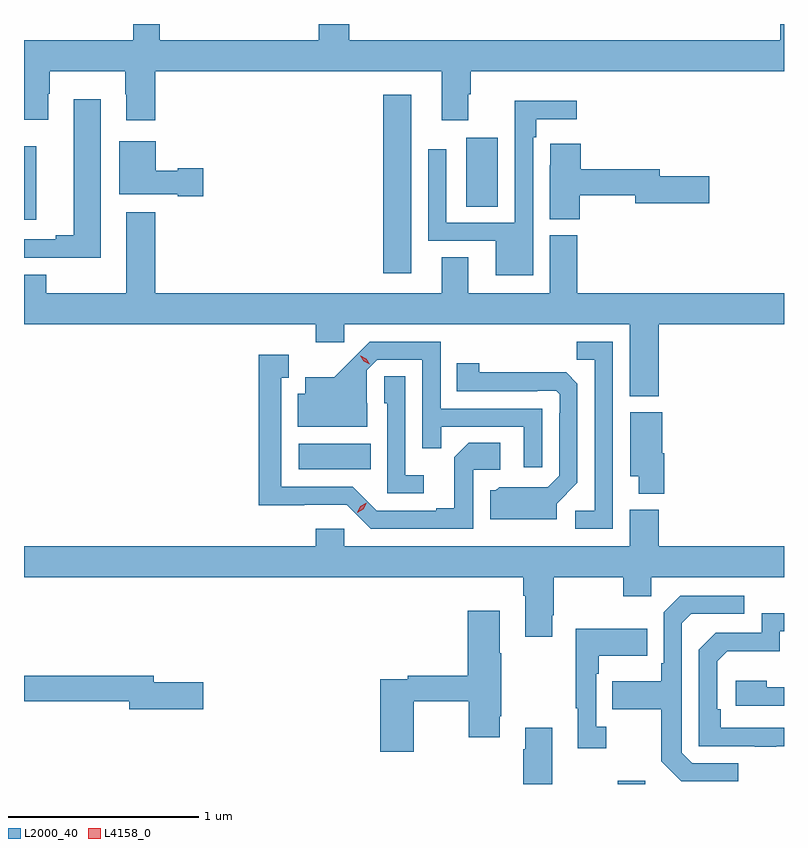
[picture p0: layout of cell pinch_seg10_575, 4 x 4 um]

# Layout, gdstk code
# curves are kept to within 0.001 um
import gdstk
lib = gdstk.Library(unit=1e-6, precision=1e-09)
def R(c, l, rs):  # rectangles x0, y0, x1, y1
    for r in rs: c.add(gdstk.rectangle(r[:2], r[2:], *l))
def P(c, l, *ps):  # polygons
    for p in ps: c.add(gdstk.Polygon(p, *l))
L2000_40 = (2000, 40)
L4158_0 = (4158, 0)

pinch_seg10_575 = lib.new_cell('pinch_seg10_575')
R(pinch_seg10_575, L2000_40, [(352.396,1279.249,352.543,1279.267), (350.718,1280.906,351.098,1281.04), (351.164,1281.936,351.31,1282.876), (349.272,1282.218,349.336,1282.606), (351.599,1282.288,351.766,1282.651)])
P(pinch_seg10_575, L2000_40, [(349.964,1283),(351.47,1283),(351.47,1282.743),(351.61,1282.743),(351.61,1282.88),(351.623,1282.88),(351.623,1283),(353.272,1283),(353.272,1283.249),(353.251,1283.249),(353.251,1283.164),(350.984,1283.164),(350.984,1283.249),(350.824,1283.249),(350.824,1283.164),(349.987,1283.164),(349.987,1283.249),(349.847,1283.249),(349.847,1283.164),(349.272,1283.164),(349.272,1282.746),(349.399,1282.746),(349.399,1282.881),(349.407,1282.881),(349.407,1283),(349.804,1283),(349.804,1282.88),(349.811,1282.88),(349.811,1282.743),(349.964,1282.743)],
  [(349.675,1282.852),(349.535,1282.852),(349.535,1282.136),(349.439,1282.136),(349.439,1282.116),(349.272,1282.116),(349.272,1282.02),(349.439,1282.02),(349.439,1282.019),(349.675,1282.019)],
  [(351.951,1282.652),(351.967,1282.652),(351.967,1282.748),(352.18,1282.748),(352.18,1282.846),(351.855,1282.846),(351.855,1282.203),(351.495,1282.203),(351.495,1282.591),(351.399,1282.591),(351.399,1282.107),(351.755,1282.107),(351.755,1281.926),(351.951,1281.926)],
  [(350.215,1282.49),(350.082,1282.49),(350.082,1282.477),(349.966,1282.477),(349.966,1282.633),(349.772,1282.633),(349.772,1282.352),(350.082,1282.352),(350.082,1282.343),(350.215,1282.343)],
  [(352.197,1282.348),(352.49,1282.348),(352.49,1282.306),(352.879,1282.306),(352.879,1282.448),(352.618,1282.448),(352.618,1282.484),(352.202,1282.484),(352.202,1282.618),(352.041,1282.618),(352.041,1282.505),(352.04,1282.505),(352.04,1282.222),(352.197,1282.222)],
  [(352.613,1281.668),(353.272,1281.668),(353.272,1281.832),(352.184,1281.832),(352.184,1282.137),(352.04,1282.137),(352.04,1281.832),(351.61,1281.832),(351.61,1282.022),(351.47,1282.022),(351.47,1281.832),(349.964,1281.832),(349.964,1282.258),(349.811,1282.258),(349.811,1281.832),(349.389,1281.832),(349.389,1281.93),(349.272,1281.93),(349.272,1281.668),(350.807,1281.668),(350.807,1281.573),(350.958,1281.573),(350.958,1281.668),(352.46,1281.668),(352.46,1281.29),(352.613,1281.29)],
  [(352.371,1281.576),(352.18,1281.576),(352.18,1281.481),(352.275,1281.481),(352.275,1280.688),(352.173,1280.688),(352.173,1280.592),(352.371,1280.592)],
  [(351.999,1281.225),(351.465,1281.225),(351.465,1281.576),(351.092,1281.576),(350.905,1281.391),(350.753,1281.391),(350.753,1281.304),(350.714,1281.304),(350.714,1281.128),(351.079,1281.128),(351.079,1281.252),(351.075,1281.252),(351.075,1281.426),(351.132,1281.483),(351.369,1281.483),(351.369,1281.016),(351.467,1281.016),(351.467,1281.129),(351.903,1281.129),(351.903,1280.916),(351.999,1280.916)],
  [(351.636,1280.904),(351.778,1280.904),(351.778,1281.044),(351.613,1281.044),(351.537,1280.968),(351.537,1280.701),(351.443,1280.701),(351.443,1280.688),(351.129,1280.688),(351.003,1280.814),(350.626,1280.814),(350.626,1281.387),(350.665,1281.387),(350.665,1281.508),(350.508,1281.508),(350.508,1280.717),(350.97,1280.718),(351.096,1280.592),(351.636,1280.592)],
  [(352.075,1280.724),(352.185,1280.834),(352.185,1281.356),(352.126,1281.415),(351.669,1281.416),(351.669,1281.463),(351.55,1281.463),(351.55,1281.315),(351.974,1281.315),(351.974,1281.318),(352.074,1281.318),(352.092,1281.3),(352.092,1281.2),(352.089,1281.2),(352.089,1280.871),(352.029,1280.811),(351.772,1280.812),(351.756,1280.796),(351.725,1280.796),(351.725,1280.642),(352.075,1280.642)],
  [(351.376,1280.875),(351.279,1280.875),(351.279,1281.395),(351.168,1281.395),(351.168,1281.252),(351.183,1281.252),(351.183,1280.778),(351.376,1280.778)],
  [(352.643,1280.991),(352.63,1280.991),(352.63,1281.205),(352.463,1281.205),(352.463,1280.87),(352.508,1280.87),(352.508,1280.777),(352.643,1280.777)],
  [(352.051,1280.137),(352.059,1280.137),(352.059,1280.336),(352.426,1280.336),(352.426,1280.237),(352.572,1280.237),(352.572,1280.336),(353.272,1280.336),(353.272,1280.5),(352.613,1280.5),(352.613,1280.692),(352.46,1280.692),(352.46,1280.5),(350.958,1280.5),(350.958,1280.593),(350.807,1280.593),(350.807,1280.5),(349.272,1280.5),(349.272,1280.336),(351.899,1280.336),(351.899,1280.24),(351.911,1280.24),(351.911,1280.025),(352.051,1280.025)],
  [(353.032,1279.359),(352.788,1279.359),(352.734,1279.413),(352.734,1280.094),(352.785,1280.145),(353.062,1280.145),(353.062,1280.241),(352.725,1280.241),(352.638,1280.154),(352.638,1279.885),(352.626,1279.885),(352.626,1279.789),(352.369,1279.789),(352.369,1279.642),(352.626,1279.642),(352.626,1279.369),(352.731,1279.263),(353.032,1279.263)],
  [(351.324,1279.684),(351.613,1279.684),(351.613,1279.494),(351.775,1279.494),(351.775,1279.606),(351.783,1279.606),(351.783,1279.937),(351.775,1279.937),(351.775,1280.161),(351.608,1280.161),(351.608,1279.82),(351.292,1279.82),(351.292,1279.8),(351.146,1279.8),(351.146,1279.419),(351.324,1279.419)],
  [(353.231,1279.449),(353.272,1279.449),(353.272,1279.545),(352.94,1279.545),(352.94,1279.642),(352.92,1279.642),(352.92,1279.896),(352.973,1279.949),(353.25,1279.949),(353.25,1280.052),(353.272,1280.052),(353.272,1280.148),(353.154,1280.148),(353.154,1280.046),(352.914,1280.046),(352.824,1279.956),(352.824,1279.449),(353.119,1279.449),(353.119,1279.444),(353.231,1279.444)],
  [(352.336,1279.55),(352.284,1279.55),(352.284,1279.829),(352.297,1279.829),(352.297,1279.925),(352.553,1279.925),(352.553,1280.065),(352.176,1280.065),(352.176,1279.649),(352.187,1279.649),(352.187,1279.437),(352.336,1279.437)],
  [(350.215,1279.784),(349.954,1279.784),(349.954,1279.82),(349.272,1279.82),(349.272,1279.684),(349.826,1279.684),(349.826,1279.642),(350.215,1279.642)],
  [(353.272,1279.758),(353.18,1279.758),(353.18,1279.792),(353.019,1279.792),(353.019,1279.662),(353.272,1279.662)],
  [(352.051,1279.546),(351.911,1279.546),(351.911,1279.433),(351.899,1279.433),(351.899,1279.249),(352.051,1279.249)])
P(pinch_seg10_575, L4158_0, [(351.091,1281.459),(351.06,1281.474),(351.043,1281.504),(351.043,1281.504),(351.044,1281.504),(351.074,1281.488),(351.091,1281.459),(351.091,1281.459)],
  [(351.025,1280.677),(351.025,1280.677),(351.043,1280.71),(351.075,1280.729),(351.075,1280.729),(351.075,1280.728),(351.057,1280.696),(351.026,1280.677)])

lib.write_gds('pinch_seg10_575.gds')
